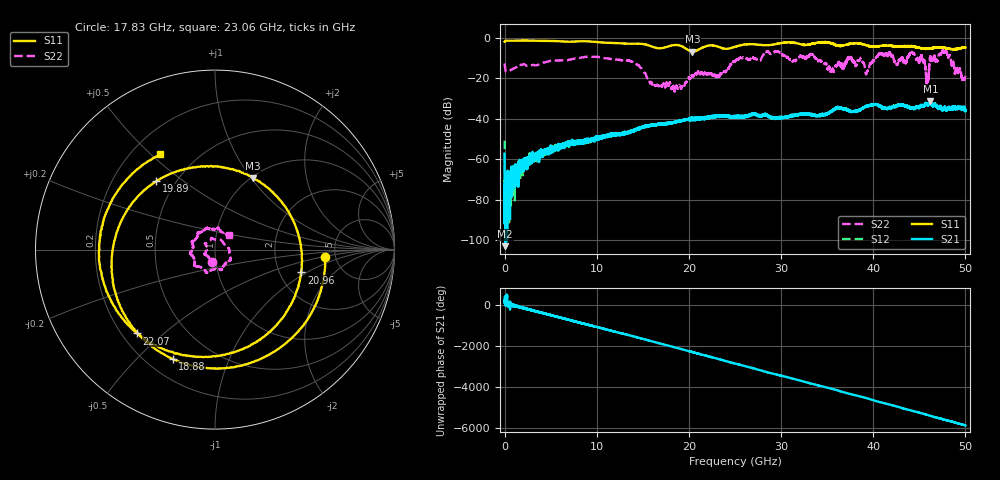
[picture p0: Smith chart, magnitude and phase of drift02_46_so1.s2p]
!Created with skrf (http://scikit-rf.org).
# Hz S RI R 50.0
!freq ReS11 ImS11 ReS21 ImS21 ReS12 ImS12 ReS22 ImS22
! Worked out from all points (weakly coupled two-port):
!   10001 points, 300 kHz to 50 GHz, reference 50 ohm
!   highest |S21| = -31.32 dB at 46.21 GHz (marker M1); lowest = -103.1 dB at 65.3 MHz (marker M2)
!   lowest |S11| = -7.0 dB at 20.38 GHz (marker M3), VSWR 2.63, Z = 51.2 + j50.9 ohm
!   |S11| at or under -10 dB: nowhere
!   |S22| runs from -26.9 to -6.1 dB; largest |S21 - S12| = 0.0031
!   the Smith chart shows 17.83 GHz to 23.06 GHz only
!   S11 on the Smith chart (normalised r, x): 17.83 GHz: 4.12, -0.57; 18.88 GHz: 0.30, -0.64; 19.89 GHz: 0.39, +0.40; 20.96 GHz: 2.63, -0.89; 22.07 GHz: 0.26, -0.41; 23.06 GHz: 0.32, +0.54
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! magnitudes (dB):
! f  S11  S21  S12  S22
! 300 kHz  -2.1  -57.3  -50.8  -12.8
! 65.3 MHz  -1.6  -103.1  -86.9  -15.4
! 255.3 MHz  -1.4  -78.8  -69.9  -17.0
! 2.965 GHz  -1.4  -59.2  -60.8  -13.5
! 8.335 GHz  -1.7  -51.5  -51.7  -9.7
! 13.71 GHz  -3.0  -46.5  -46.3  -11.6
! 16.67 GHz  -5.2  -42.8  -42.8  -23.6
! 17.83 GHz  -4.2  -42.1  -42.4  -23.1
! 18.88 GHz  -3.7  -41.2  -41.1  -24.3
! 19.89 GHz  -6.0  -40.2  -40.2  -20.1
! 20.38 GHz  -7.0  -40.6  -40.2  -18.9
! 20.96 GHz  -6.1  -39.8  -39.7  -16.8
! 22.07 GHz  -3.9  -39.2  -40.0  -17.4
! 23.06 GHz  -4.3  -39.1  -38.7  -18.9
! 25 GHz  -4.5  -39.2  -38.8  -11.6
! 33.34 GHz  -3.0  -38.0  -37.8  -8.4
! 39.33 GHz  -3.8  -33.7  -33.8  -16.6
! 41.67 GHz  -3.9  -34.8  -34.8  -7.6
! 45.85 GHz  -5.4  -32.6  -32.9  -19.9
! 46.21 GHz  -5.3  -31.3  -31.5  -9.3
! 47.75 GHz  -5.0  -34.5  -34.5  -7.0
! 50 GHz  -4.8  -36.1  -35.7  -18.8
